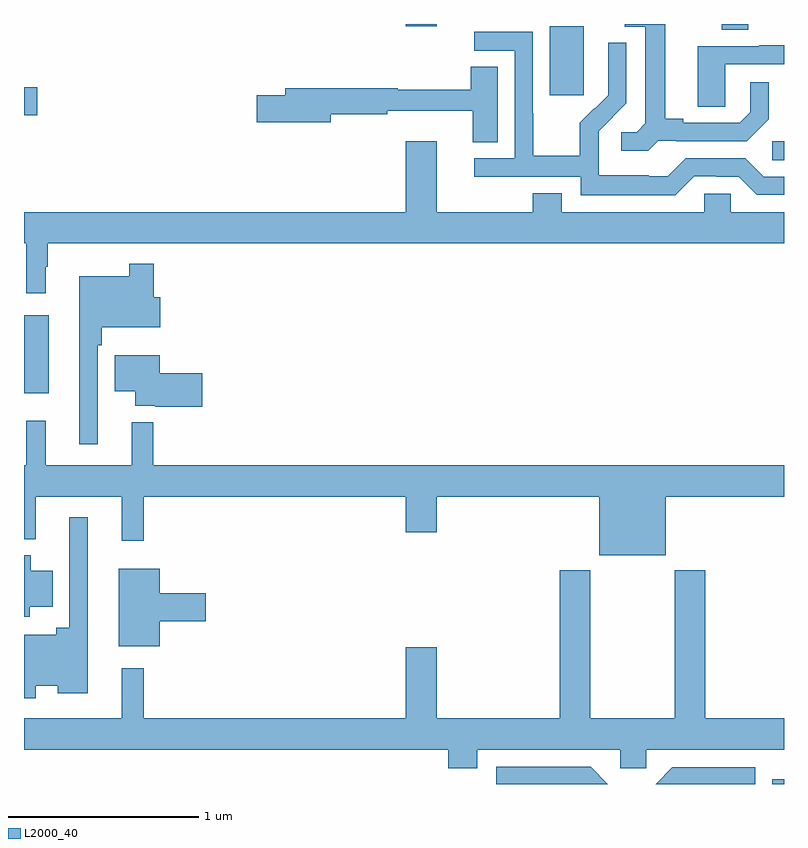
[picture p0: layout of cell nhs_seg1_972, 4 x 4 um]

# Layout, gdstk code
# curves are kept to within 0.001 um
import gdstk
lib = gdstk.Library(unit=1e-6, precision=1e-09)
def R(c, l, rs):  # rectangles x0, y0, x1, y1
    for r in rs: c.add(gdstk.rectangle(r[:2], r[2:], *l))
def P(c, l, *ps):  # polygons
    for p in ps: c.add(gdstk.Polygon(p, *l))
L2000_40 = (2000, 40)

nhs_seg1_972 = lib.new_cell('nhs_seg1_972')
R(nhs_seg1_972, L2000_40, [(166.939,570.199,167,570.223), (163,572.255,163.129,572.665), (166.938,573.481,167,573.582), (163,573.719,163.069,573.866), (165.767,573.825,165.946,574.186), (166.673,574.168,166.813,574.199), (165.008,574.188,165.172,574.199)])
P(nhs_seg1_972, L2000_40, [(166.338,573.585),(166.432,573.585),(166.432,573.582),(166.804,573.582),(166.92,573.698),(166.92,573.892),(166.823,573.892),(166.823,573.735),(166.766,573.678),(166.471,573.678),(166.471,573.701),(166.375,573.701),(166.375,574.199),(166.161,574.199),(166.161,574.185),(166.271,574.185),(166.271,573.677),(166.224,573.63),(166.143,573.63),(166.143,573.533),(166.286,573.533)],
  [(166.527,573.399),(166.643,573.399),(166.643,573.396),(166.761,573.396),(166.857,573.3),(167,573.3),(167,573.396),(166.893,573.396),(166.797,573.492),(166.482,573.492),(166.389,573.399),(166.289,573.399),(166.289,573.403),(166.026,573.403),(166.026,573.537),(166.024,573.537),(166.024,573.634),(166.17,573.782),(166.17,574.1),(166.074,574.1),(166.074,573.946),(166.076,573.946),(166.076,573.824),(166.005,573.753),(166.002,573.756),(165.925,573.679),(165.925,573.505),(165.681,573.505),(165.681,573.728),(165.678,573.728),(165.678,574.158),(165.369,574.158),(165.369,574.059),(165.582,574.059),(165.582,573.492),(165.369,573.492),(165.369,573.396),(165.93,573.396),(165.93,573.299),(166.427,573.299)],
  [(166.692,573.987),(167,573.987),(167,574.087),(166.871,574.087),(166.871,574.083),(166.547,574.083),(166.547,573.763),(166.692,573.763)],
  [(165.493,573.974),(165.35,573.974),(165.35,573.853),(164.966,573.853),(164.966,573.86),(164.375,573.86),(164.375,573.824),(164.226,573.824),(164.226,573.682),(164.614,573.682),(164.614,573.724),(164.912,573.724),(164.912,573.743),(165.362,573.743),(165.362,573.577),(165.493,573.577)],
  [(163.114,572.921),(163.126,572.921),(163.126,573.044),(167,573.044),(167,573.208),(166.719,573.208),(166.719,573.306),(166.581,573.306),(166.581,573.208),(165.829,573.208),(165.829,573.307),(165.677,573.307),(165.677,573.208),(165.172,573.208),(165.172,573.583),(165.008,573.583),(165.008,573.208),(163,573.208),(163,573.044),(163.012,573.044),(163.012,572.781),(163.114,572.781)],
  [(163.389,572.507),(163.409,572.507),(163.409,572.603),(163.717,572.603),(163.717,572.761),(163.682,572.761),(163.682,572.938),(163.554,572.938),(163.554,572.872),(163.292,572.872),(163.292,571.986),(163.389,571.986)],
  [(163.939,572.36),(163.714,572.36),(163.714,572.455),(163.478,572.455),(163.478,572.267),(163.586,572.267),(163.586,572.189),(163.69,572.189),(163.69,572.184),(163.939,572.184)],
  [(166.378,571.712),(167,571.712),(167,571.876),(163.68,571.876),(163.68,572.104),(163.568,572.104),(163.568,571.876),(163.115,571.876),(163.115,572.11),(163.012,572.11),(163.012,571.876),(163,571.876),(163,571.487),(163.061,571.487),(163.061,571.712),(163.514,571.712),(163.514,571.479),(163.631,571.479),(163.631,571.712),(165.008,571.712),(165.008,571.524),(165.172,571.524),(165.172,571.712),(166.028,571.712),(166.028,571.403),(166.378,571.403)],
  [(163.062,570.716),(163.178,570.716),(163.178,570.677),(163.336,570.677),(163.336,571.603),(163.239,571.603),(163.239,571.021),(163.171,571.021),(163.171,570.985),(163,570.985),(163,570.651),(163.062,570.651)],
  [(163.03,571.133),(163.15,571.133),(163.15,571.321),(163.036,571.321),(163.036,571.402),(163,571.402),(163,571.079),(163.03,571.079)],
  [(163.714,571.055),(163.957,571.055),(163.957,571.202),(163.714,571.202),(163.714,571.333),(163.499,571.333),(163.499,570.923),(163.714,570.923)],
  [(165.385,570.38),(166.137,570.38),(166.137,570.282),(166.275,570.282),(166.275,570.38),(167,570.38),(167,570.544),(166.586,570.544),(166.586,571.324),(166.426,571.324),(166.426,570.544),(165.981,570.544),(165.981,571.324),(165.821,571.324),(165.821,570.544),(165.172,570.544),(165.172,570.919),(165.008,570.919),(165.008,570.544),(163.631,570.544),(163.631,570.808),(163.514,570.808),(163.514,570.544),(163,570.544),(163,570.38),(165.233,570.38),(165.233,570.281),(165.385,570.281)],
  [(165.983,570.289),(165.486,570.289),(165.486,570.199),(166.073,570.199)],
  [(166.848,570.288),(166.413,570.288),(166.324,570.199),(166.848,570.199)])

lib.write_gds('nhs_seg1_972.gds')
